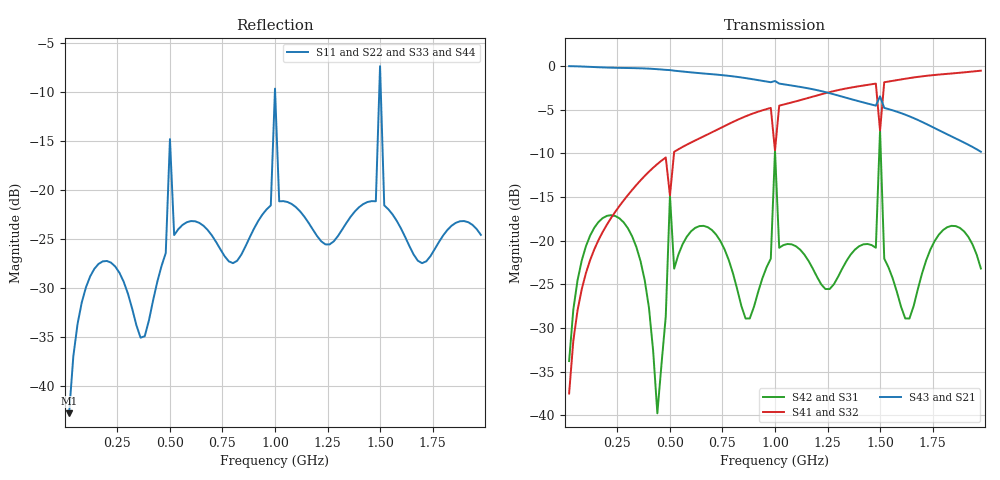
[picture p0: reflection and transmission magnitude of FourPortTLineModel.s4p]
! C:\Users\peter.pupalaikis\Work\Books\LyxBook\PythonSource\TestSignalIntegrity\FourPortTLineModel.s4p
! Fri Jun 12 17:55:12 2015
! freq S11 S12 S13 S14
! S21 S22 S23 S24
! S31 S32 S33 S34
! S41 S42 S43 S44
# MHz S MA R 50.00
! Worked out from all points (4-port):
!   99 points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, 20 MHz to 1.98 GHz, reference 50 ohm
!   strongest paths, dB at 20 MHz, 500 MHz, 1 GHz, 1.5 GHz, 1.98 GHz:
!     S43: 0.0, -0.5, -1.7, -3.5, -9.8
!     S21: 0.0, -0.5, -1.7, -3.5, -9.8
!     S41: -37.5, -14.8, -9.7, -7.4, -0.5
!     S32: -37.5, -14.8, -9.7, -7.4, -0.5
!     S42: -33.8, -14.8, -9.7, -7.4, -23.2
!     S31: -33.8, -14.8, -9.7, -7.4, -23.2
!   lowest |S11| = -42.8 dB at 20 MHz (marker M1), VSWR 1.01, Z = 50.1 + j0.716 ohm
!   |S11| at or under -10 dB: start of sweep to 999.4 MHz; 1.001 GHz to 1.496 GHz (495.6 MHz wide, 39.7 % of centre); 1.504 GHz to end of sweep
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20  0.007255 79.8  0.9997 -8.0  0.02048 81.7  0.01335 -98.6
    0.9997 -8.0  0.007255 79.8  0.01335 -98.6  0.02048 81.7
    0.02048 81.7  0.01335 -98.6  0.007255 79.8  0.9997 -8.0
    0.01335 -98.6  0.02048 81.7  0.9997 -8.0  0.007255 79.8
440  0.03411 97.3  0.9608 -174.3  0.01028 -12.6  0.2751 95.8
     0.9608 -174.3  0.03411 97.3  0.2751 95.8  0.01028 -12.6
     0.01028 -12.6  0.2751 95.8  0.03411 97.3  0.9608 -174.3
     0.2751 95.8  0.01028 -12.6  0.9608 -174.3  0.03411 97.3
500  0.1816 68.7  0.9492 169.7  0.1816 68.7  0.1816 68.7
     0.9492 169.7  0.1816 68.7  0.1816 68.7  0.1816 68.7
     0.1816 68.7  0.1816 68.7  0.1816 68.7  0.9492 169.7
     0.1816 68.7  0.1816 68.7  0.9492 169.7  0.1816 68.7
880  0.05741 103.8  0.8469 11.4  0.03592 5.3  0.5274 -78.5
     0.8469 11.4  0.05741 103.8  0.5274 -78.5  0.03592 5.3
     0.03592 5.3  0.5274 -78.5  0.05741 103.8  0.8469 11.4
     0.5274 -78.5  0.03592 5.3  0.8469 11.4  0.05741 103.8
1500  0.4277 31.2  0.6717 160.7  0.4277 31.2  0.4277 31.2
      0.6717 160.7  0.4277 31.2  0.4277 31.2  0.4277 31.2
      0.4277 31.2  0.4277 31.2  0.4277 31.2  0.6717 160.7
      0.4277 31.2  0.4277 31.2  0.6717 160.7  0.4277 31.2
1620  0.0574 -103.8  0.5274 78.5  0.03592 -5.3  0.8469 -11.4
      0.5274 78.5  0.0574 -103.8  0.8469 -11.4  0.03592 -5.3
      0.03592 -5.3  0.8469 -11.4  0.0574 -103.8  0.5274 78.5
      0.8469 -11.4  0.03592 -5.3  0.5274 78.5  0.0574 -103.8
1980  0.05898 -40.9  0.3234 -63.1  0.06939 -48.2  0.9419 -153.9
      0.3234 -63.1  0.05898 -40.9  0.9419 -153.9  0.06939 -48.2
      0.06939 -48.2  0.9419 -153.9  0.05898 -40.9  0.3234 -63.1
      0.9419 -153.9  0.06939 -48.2  0.3234 -63.1  0.05898 -40.9
